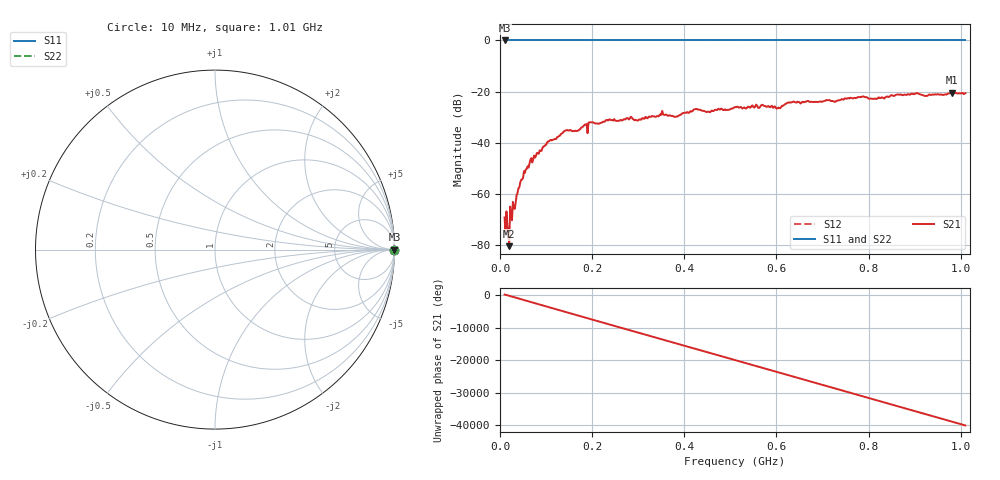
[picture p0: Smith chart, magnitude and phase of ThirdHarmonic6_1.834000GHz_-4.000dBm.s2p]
! 8/16/2025 10:12:24 PM
! C:\ANRITSUVNA\TEMP\TEMP.S2P
! CHANNEL.1
! TR.MEASUREMENT
! RAW.DATA
! RF.CORRECTION.OFF
! AVERAGING.OFF
! IF.BANDWIDTH: 5KHZ
! SWEEPTYPE:  FREQ.SWEEP(Linear)
! Reference Plane Port Info
! PORT:  PORT1  PORT2
! DISTANCE:  0  m  0  m
! TIME:  0  s  0  s
! PHASE.OFFSET:  0  deg.  0  deg.
! LOSS:  0  dB  0  dB
! REF.LOSS:  0  dB  0  dB
! REF.FREQ:  0  Hz  0  Hz
! Power Info
! POWER:  -20  dBm  -20  dBm
! EFF.POWER:  -20  dBm  -20  dBm
! SOURCE.ATTEN:  0  dB  0  dB
! TEST.ATTEN:  0  dB  0  dB
# GHZ S RI R 50.0
! FREQ.GHZ  S11RE  S11IM  S21RE  S21IM  S12RE  S12IM  S22RE  S22IM
!; PortSelection: Port_12
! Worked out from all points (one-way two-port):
!   501 points, 10 MHz to 1.01 GHz, reference 50 ohm
!   highest |S21| = -20.40 dB at 980 MHz (marker M1); lowest = -80.6 dB at 20 MHz (marker M2)
!   lowest |S11| = 0.0 dB at 10 MHz (marker M3)
!   |S11| at or under -10 dB: nowhere
!   |S22| runs from 0.0 to 0.0 dB; largest |S21 - S12| = 1.1
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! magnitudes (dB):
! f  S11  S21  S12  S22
! 10 MHz  0.0  -69.4  0.0  0.0
! 16 MHz  0.0  -72.6  0.0  0.0
! 18 MHz  0.0  -74.3  0.0  0.0
! 20 MHz  0.0  -80.6  0.0  0.0
! 22 MHz  0.0  -65.1  0.0  0.0
! 26 MHz  0.0  -70.4  0.0  0.0
! 30 MHz  0.0  -65.6  0.0  0.0
! 48 MHz  0.0  -54.4  0.0  0.0
! 70 MHz  0.0  -47.8  0.0  0.0
! 106 MHz  0.0  -39.6  0.0  0.0
! 142 MHz  0.0  -35.3  0.0  0.0
! 178 MHz  0.0  -34.0  0.0  0.0
! 196 MHz  0.0  -32.0  0.0  0.0
! 344 MHz  0.0  -29.7  0.0  0.0
! 382 MHz  0.0  -29.8  0.0  0.0
! 510 MHz  0.0  -26.1  0.0  0.0
! 604 MHz  0.0  -26.3  0.0  0.0
! 634 MHz  0.0  -24.2  0.0  0.0
! 678 MHz  0.0  -24.1  0.0  0.0
! 844 MHz  0.0  -22.1  0.0  0.0
! 980 MHz  0.0  -20.4  0.0  0.0
! 1.01 GHz  0.0  -20.6  0.0  0.0
